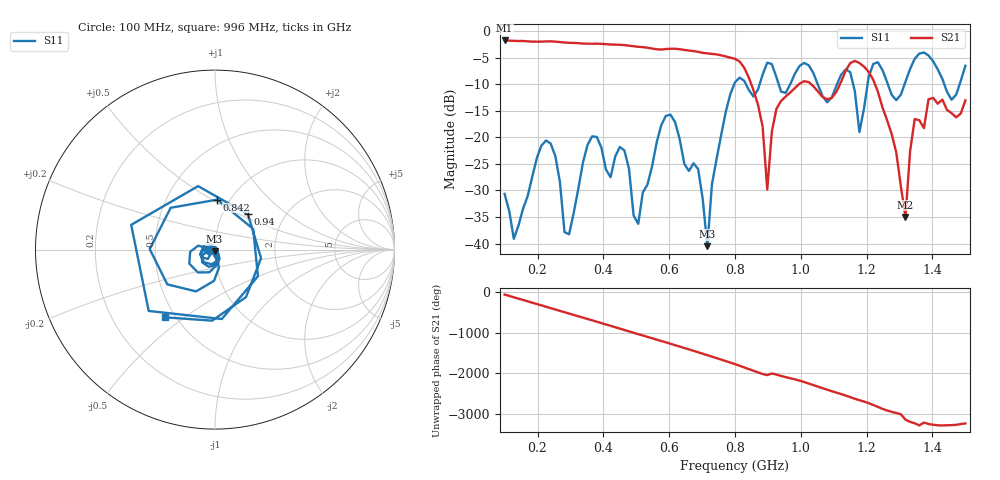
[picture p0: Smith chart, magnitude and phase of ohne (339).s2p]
! NanoVNA-App
! Date: 2025-09-25 14:23:26
! Start: 100MHz Stop: 1,5GHz Points: 101
! S-Parameter data: F S11 S21 S12 S22
# Hz S RI R 50
!  Frequency  S11_Real  S11_Imag  S21_Real  S21_Imag  S12_Real  S12_Imag  S22_Real  S22_Imag
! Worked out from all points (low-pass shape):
!   101 points, 100 MHz to 1.5 GHz, reference 50 ohm
!   highest |S21| = -1.79 dB at 100 MHz (marker M1); lowest = -35.0 dB at 1.318 GHz (marker M2)
!   |S21| within 3 dB of the highest: start of sweep to 771.4 MHz
!   lowest |S11| = -40.5 dB at 716 MHz (marker M3), VSWR 1.02, Z = 49.7 - j0.903 ohm
!   |S11| at or under -10 dB: start of sweep to 797.8 MHz; 833 MHz to 875 MHz (42.01 MHz wide, 4.92 % of centre); 1.051 GHz to 1.11 GHz (59.11 MHz wide, 5.47 % of centre) (the widest 3 of 7)
!   S12 and S22 are empty: the file has one direction only
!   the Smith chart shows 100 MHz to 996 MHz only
!   S11 on the Smith chart (normalised r, x): 100 MHz: 0.94, -0.01; 842 MHz: 0.88, +0.53; 940 MHz: 1.31, +0.56; 996 MHz: 0.44, -0.43
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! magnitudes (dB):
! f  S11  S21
! 100 MHz  -30.6  -1.8
! 128 MHz  -39.1  -1.9
! 226 MHz  -20.6  -2.0
! 296 MHz  -38.2  -2.2
! 338 MHz  -24.8  -2.4
! 464 MHz  -22.5  -2.7
! 506 MHz  -36.3  -3.0
! 576 MHz  -17.7  -3.5
! 688 MHz  -26.0  -3.9
! 716 MHz  -40.5  -4.2
! 800 MHz  -9.7  -5.2
! 842 MHz  -11.1  -8.8
! 898 MHz  -6.0  -29.8
! 940 MHz  -11.4  -13.2
! 996 MHz  -6.6  -9.9
! 1.038 GHz  -7.9  -10.4
! 1.178 GHz  -19.0  -6.0
! 1.22 GHz  -6.2  -9.2
! 1.276 GHz  -12.0  -19.4
! 1.318 GHz  -9.5  -35.0
! 1.346 GHz  -5.2  -16.6
! 1.5 GHz  -6.5  -13.1
